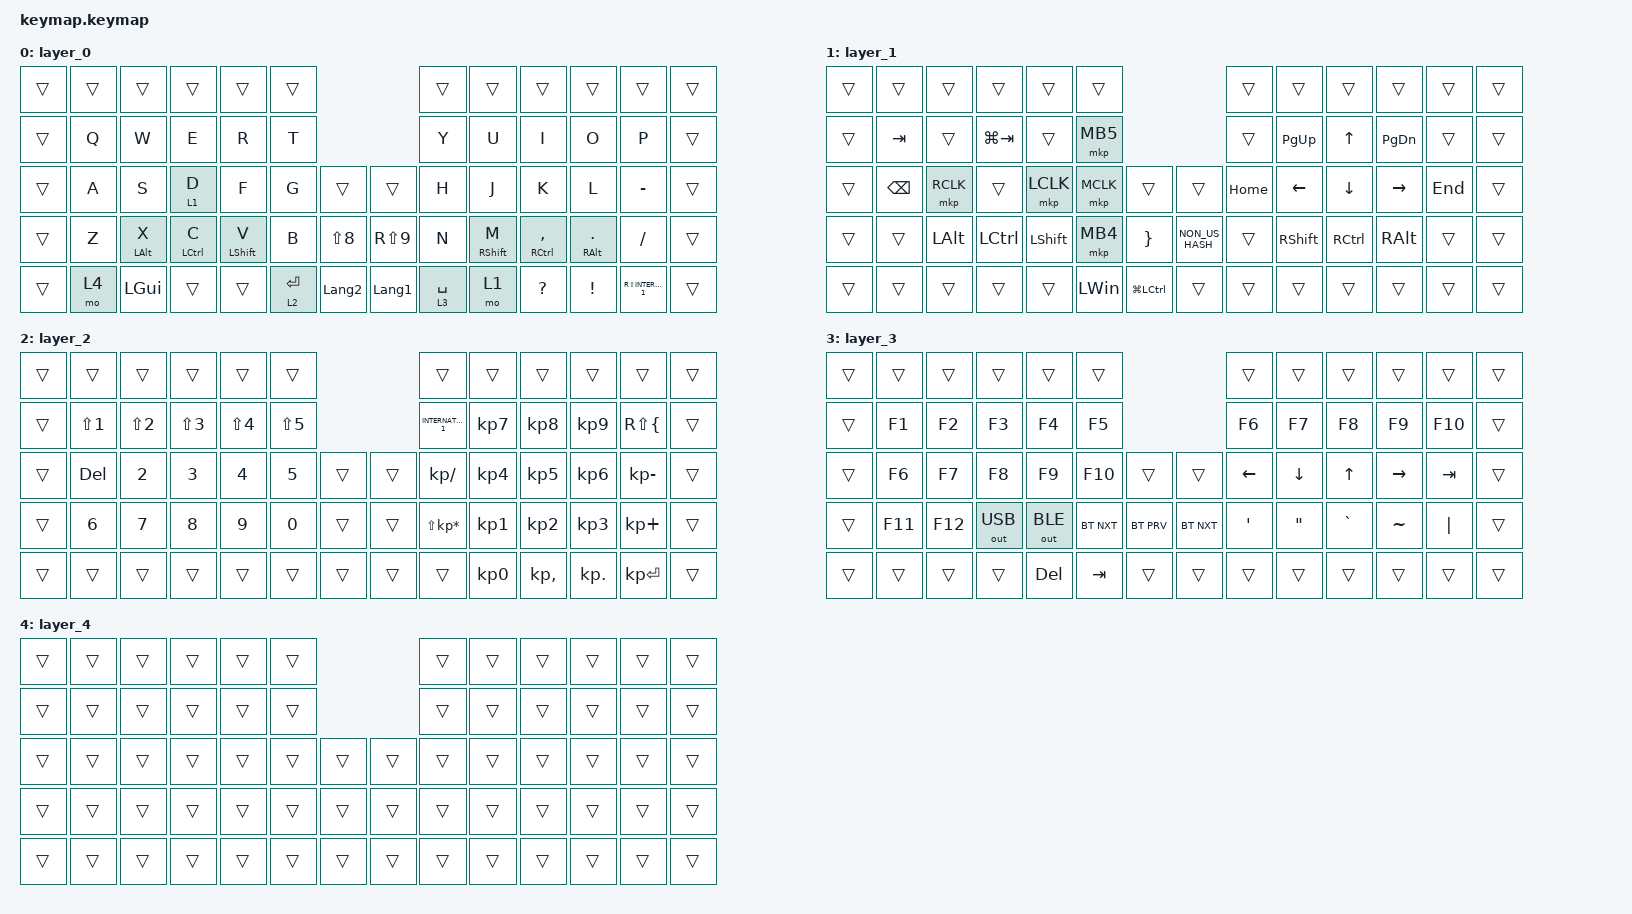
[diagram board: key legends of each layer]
#include <behaviors.dtsi>
#include <dt-bindings/zmk/bt.h>
#include <dt-bindings/zmk/keys.h>
#include <dt-bindings/zmk/outputs.h>
#include <dt-bindings/zmk/pointing.h>

/ {
    combos {
        compatible = "zmk,combos";

        bt_clear {
            bindings = <&bt BT_CLR>;
            key-positions = <28 29>;
            layers = <2>;
        };
    };

    keymap {
        compatible = "zmk,keymap";

        layer_0 {
            bindings = <
&trans  &trans  &trans          &trans              &trans            &trans                                       &trans       &trans             &trans                   &trans                &trans                   &trans
&trans  &kp Q   &kp W           &kp E               &kp R             &kp T                                        &kp Y        &kp U              &kp I                    &kp O                 &kp P                    &trans
&trans  &kp A   &kp S           &lt 1 D             &kp F             &kp G        &trans          &trans          &kp H        &kp J              &kp K                    &kp L                 &kp MINUS                &trans
&trans  &kp Z   &mt LEFT_ALT X  &mt LEFT_CONTROL C  &mt LEFT_SHIFT V  &kp B        &kp LS(N8)      &kp RS(N9)      &kp N        &mt RIGHT_SHIFT M  &mt RIGHT_CONTROL COMMA  &mt RIGHT_ALT PERIOD  &kp SLASH                &trans
&trans  &mo 4   &kp LEFT_GUI    &trans              &trans            &lt 2 ENTER  &kp LANGUAGE_2  &kp LANGUAGE_1  &lt 3 SPACE  &mo 1              &kp QUESTION             &kp EXCL              &kp RS(INTERNATIONAL_1)  &trans
            >;
        };

        layer_1 {
            bindings = <
&trans  &trans         &trans        &trans            &trans          &trans                                            &trans    &trans           &trans             &trans         &trans   &trans
&trans  &kp TAB        &trans        &kp LG(TAB)       &trans          &mkp MB5                                          &trans    &kp PAGE_UP      &kp UP_ARROW       &kp PAGE_DOWN  &trans   &trans
&trans  &kp BACKSPACE  &mkp RCLK     &trans            &mkp LCLK       &mkp MCLK  &trans                &trans           &kp HOME  &kp LEFT         &kp DOWN_ARROW     &kp RIGHT      &kp END  &trans
&trans  &trans         &kp LEFT_ALT  &kp LEFT_CONTROL  &kp LEFT_SHIFT  &mkp MB4   &kp RIGHT_BRACE       &kp NON_US_HASH  &trans    &kp RIGHT_SHIFT  &kp RIGHT_CONTROL  &kp RIGHT_ALT  &trans   &trans
&trans  &trans         &trans        &trans            &trans          &kp LWIN   &kp LG(LEFT_CONTROL)  &trans           &trans    &trans           &trans             &trans         &trans   &trans
            >;
        };

        layer_2 {
            bindings = <
&trans  &trans            &trans            &trans      &trans      &trans                      &trans               &trans           &trans           &trans           &trans              &trans
&trans  &kp LS(NUMBER_1)  &kp LS(NUMBER_2)  &kp LS(N3)  &kp LS(N4)  &kp LS(N5)                  &kp INTERNATIONAL_1  &kp KP_NUMBER_7  &kp KP_NUMBER_8  &kp KP_NUMBER_9  &kp RS(LEFT_BRACE)  &trans
&trans  &kp DELETE        &kp N2            &kp N3      &kp N4      &kp N5      &trans  &trans  &kp KP_SLASH         &kp KP_NUMBER_4  &kp KP_NUMBER_5  &kp KP_NUMBER_6  &kp KP_MINUS        &trans
&trans  &kp N6            &kp N7            &kp N8      &kp N9      &kp N0      &trans  &trans  &kp LS(KP_MULTIPLY)  &kp KP_NUMBER_1  &kp KP_NUMBER_2  &kp KP_NUMBER_3  &kp KP_PLUS         &trans
&trans  &trans            &trans            &trans      &trans      &trans      &trans  &trans  &trans               &kp KP_NUMBER_0  &kp KP_COMMA     &kp KP_DOT       &kp KP_ENTER        &trans
            >;
        };

        layer_3 {
            bindings = <
&trans  &trans   &trans   &trans        &trans        &trans                              &trans            &trans    &trans        &trans     &trans    &trans
&trans  &kp F1   &kp F2   &kp F3        &kp F4        &kp F5                              &kp F6            &kp F7    &kp F8        &kp F9     &kp F10   &trans
&trans  &kp F6   &kp F7   &kp F8        &kp F9        &kp F10     &trans      &trans      &kp LEFT          &kp DOWN  &kp UP_ARROW  &kp RIGHT  &kp TAB   &trans
&trans  &kp F11  &kp F12  &out OUT_USB  &out OUT_BLE  &bt BT_NXT  &bt BT_PRV  &bt BT_NXT  &kp SINGLE_QUOTE  &kp DQT   &kp GRAVE     &kp TILDE  &kp PIPE  &trans
&trans  &trans   &trans   &trans        &kp DELETE    &kp TAB     &trans      &trans      &trans            &trans    &trans        &trans     &trans    &trans
            >;
        };

        layer_4 {
            bindings = <
&trans  &trans  &trans  &trans  &trans  &trans                  &trans  &trans  &trans  &trans  &trans  &trans
&trans  &trans  &trans  &trans  &trans  &trans                  &trans  &trans  &trans  &trans  &trans  &trans
&trans  &trans  &trans  &trans  &trans  &trans  &trans  &trans  &trans  &trans  &trans  &trans  &trans  &trans
&trans  &trans  &trans  &trans  &trans  &trans  &trans  &trans  &trans  &trans  &trans  &trans  &trans  &trans
&trans  &trans  &trans  &trans  &trans  &trans  &trans  &trans  &trans  &trans  &trans  &trans  &trans  &trans
            >;
        };
    };
};

&mt {
    tapping-term-ms = <250>;
    flavor = "balanced";
};

&lt { tapping-term-ms = <150>; };
